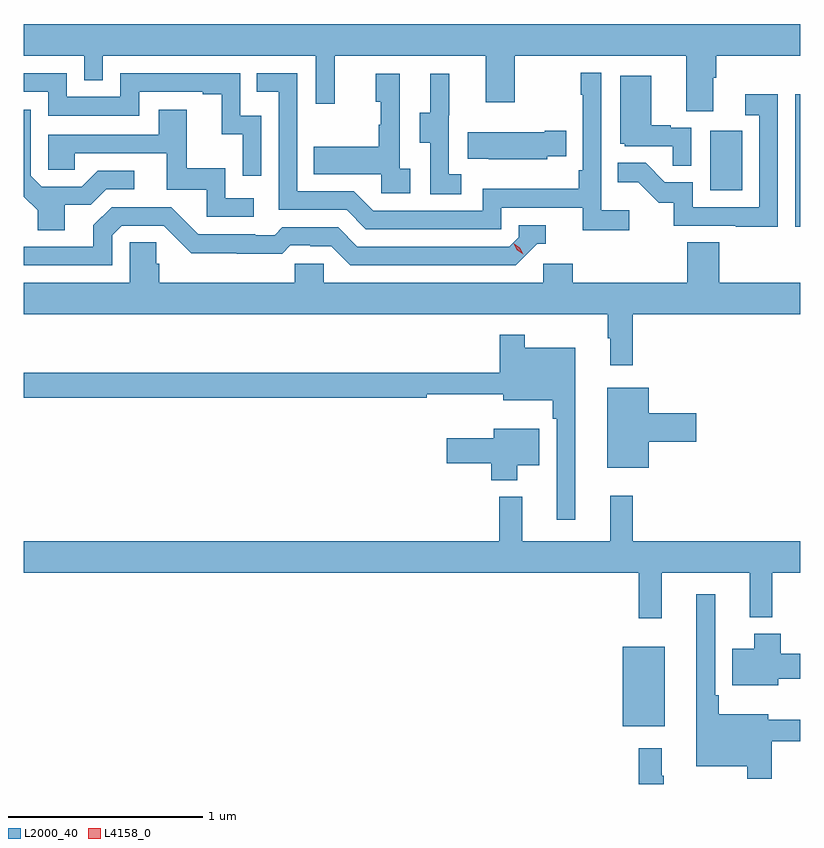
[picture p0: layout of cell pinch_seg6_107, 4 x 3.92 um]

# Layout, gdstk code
import gdstk
lib = gdstk.Library(unit=1e-6, precision=1e-09)
def R(c, l, rs):  # rectangles x0, y0, x1, y1
    for r in rs: c.add(gdstk.rectangle(r[:2], r[2:], *l))
def P(c, l, *ps):  # polygons
    for p in ps: c.add(gdstk.Polygon(p, *l))
L2000_40 = (2000, 40)
L4158_0 = (4158, 0)

pinch_seg6_107 = lib.new_cell('pinch_seg6_107')
R(pinch_seg6_107, L2000_40, [(893.738,919.907,893.953,920.317), (894.627,922.48,894.652,923.161), (894.188,922.668,894.352,922.975)])
P(pinch_seg6_107, L2000_40, [(894.205,923.248),(894.218,923.248),(894.218,923.36),(894.652,923.36),(894.652,923.524),(890.652,923.524),(890.652,923.36),(890.964,923.36),(890.964,923.233),(891.06,923.233),(891.06,923.36),(892.155,923.36),(892.155,923.112),(892.253,923.112),(892.253,923.36),(893.033,923.36),(893.033,923.121),(893.181,923.121),(893.181,923.36),(894.065,923.36),(894.065,923.074),(894.205,923.074)],
  [(893.77,922.564),(893.628,922.564),(893.628,923.272),(893.52,923.272),(893.52,923.159),(893.532,923.159),(893.532,922.771),(893.512,922.771),(893.512,922.675),(893.016,922.675),(893.016,922.563),(892.452,922.563),(892.353,922.662),(892.062,922.662),(892.062,923.271),(891.853,923.271),(891.853,923.175),(891.966,923.175),(891.966,922.566),(892.316,922.566),(892.415,922.467),(893.112,922.467),(893.112,922.578),(893.531,922.578),(893.531,922.462),(893.77,922.462)],
  [(891.876,923.052),(891.768,923.052),(891.768,923.271),(891.15,923.271),(891.15,923.148),(890.874,923.148),(890.874,923.271),(890.652,923.271),(890.652,923.175),(890.778,923.175),(890.778,923.052),(891.246,923.052),(891.246,923.175),(891.575,923.175),(891.575,923.163),(891.671,923.163),(891.671,922.955),(891.78,922.955),(891.78,922.743),(891.876,922.743)],
  [(892.642,922.778),(892.59,922.778),(892.59,923.269),(892.466,923.269),(892.466,923.124),(892.492,923.124),(892.492,923.006),(892.482,923.006),(892.482,922.891),(892.147,922.891),(892.147,922.751),(892.494,922.751),(892.494,922.653),(892.642,922.653)],
  [(892.906,922.751),(892.842,922.751),(892.842,923.055),(892.844,923.055),(892.844,923.269),(892.745,923.269),(892.745,923.067),(892.691,923.067),(892.691,922.912),(892.746,922.912),(892.746,922.648),(892.906,922.648)],
  [(894.09,922.989),(893.984,922.989),(893.984,923.002),(893.884,923.002),(893.884,923.257),(893.726,923.257),(893.726,922.908),(893.748,922.908),(893.748,922.893),(893.995,922.893),(893.995,922.795),(894.09,922.795)],
  [(894.537,923.161),(894.369,923.161),(894.369,923.055),(894.441,923.055),(894.441,922.581),(894.099,922.581),(894.099,922.71),(893.955,922.71),(893.857,922.808),(893.713,922.808),(893.713,922.709),(893.817,922.709),(893.924,922.602),(894.001,922.602),(894.001,922.485),(894.319,922.485),(894.319,922.48),(894.537,922.48)],
  [(891.838,922.626),(891.69,922.626),(891.69,922.78),(891.491,922.78),(891.491,923.083),(891.347,923.083),(891.347,922.953),(890.778,922.953),(890.778,922.773),(890.915,922.773),(890.915,922.857),(891.389,922.857),(891.389,922.671),(891.594,922.671),(891.594,922.53),(891.838,922.53)],
  [(890.863,922.594),(890.998,922.594),(891.078,922.674),(891.22,922.674),(891.22,922.767),(891.032,922.767),(890.951,922.686),(890.745,922.686),(890.688,922.743),(890.688,923.083),(890.652,923.083),(890.652,922.635),(890.723,922.564),(890.723,922.462),(890.863,922.462)],
  [(893.349,922.844),(893.447,922.844),(893.447,922.974),(893.336,922.974),(893.336,922.966),(892.939,922.966),(892.939,922.829),(893.047,922.829),(893.047,922.826),(893.349,922.826)],
  [(891.108,922.437),(891.156,922.485),(891.372,922.485),(891.514,922.343),(891.75,922.343),(891.75,922.341),(891.983,922.341),(892.025,922.383),(892.128,922.383),(892.128,922.38),(892.235,922.38),(892.334,922.281),(893.187,922.281),(893.298,922.392),(893.341,922.392),(893.341,922.488),(893.202,922.488),(893.202,922.425),(893.154,922.377),(892.371,922.377),(892.272,922.476),(891.983,922.476),(891.944,922.437),(891.845,922.437),(891.845,922.44),(891.552,922.44),(891.411,922.581),(891.105,922.581),(891.011,922.487),(891.011,922.377),(890.652,922.377),(890.652,922.281),(891.108,922.281)],
  [(893.789,922.028),(894.652,922.028),(894.652,922.192),(894.236,922.192),(894.236,922.4),(894.071,922.4),(894.071,922.192),(893.48,922.192),(893.48,922.29),(893.328,922.29),(893.328,922.192),(892.197,922.192),(892.197,922.29),(892.047,922.29),(892.047,922.192),(891.35,922.192),(891.35,922.29),(891.335,922.29),(891.335,922.4),(891.198,922.4),(891.198,922.192),(890.652,922.192),(890.652,922.028),(893.661,922.028),(893.661,921.905),(893.672,921.905),(893.672,921.765),(893.789,921.765)],
  [(893.494,921.856),(893.233,921.856),(893.233,921.922),(893.104,921.922),(893.104,921.727),(890.652,921.727),(890.652,921.598),(892.727,921.598),(892.727,921.616),(893.123,921.616),(893.123,921.587),(893.377,921.587),(893.377,921.491),(893.397,921.491),(893.397,920.97),(893.494,920.97)],
  [(893.872,921.371),(894.115,921.371),(894.115,921.518),(893.872,921.518),(893.872,921.649),(893.657,921.649),(893.657,921.239),(893.872,921.239)],
  [(893.194,921.251),(893.308,921.251),(893.308,921.439),(893.072,921.439),(893.072,921.391),(892.83,921.391),(892.83,921.262),(893.06,921.262),(893.06,921.173),(893.194,921.173)],
  [(893.939,920.696),(894.392,920.696),(894.392,920.468),(894.509,920.468),(894.509,920.696),(894.652,920.696),(894.652,920.86),(893.789,920.86),(893.789,921.094),(893.672,921.094),(893.672,920.86),(893.219,920.86),(893.219,921.088),(893.101,921.088),(893.101,920.86),(890.652,920.86),(890.652,920.696),(893.821,920.696),(893.821,920.463),(893.939,920.463)],
  [(894.506,919.83),(894.652,919.83),(894.652,919.94),(894.487,919.94),(894.487,919.969),(894.233,919.969),(894.233,920.065),(894.213,920.065),(894.213,920.587),(894.116,920.587),(894.116,919.7),(894.378,919.7),(894.378,919.635),(894.506,919.635)],
  [(894.538,920.15),(894.652,920.15),(894.652,920.28),(894.551,920.28),(894.551,920.383),(894.416,920.383),(894.416,920.305),(894.302,920.305),(894.302,920.117),(894.538,920.117)],
  [(893.95,919.652),(893.938,919.652),(893.938,919.792),(893.821,919.792),(893.821,919.609),(893.95,919.609)])
P(pinch_seg6_107, L4158_0, [(893.224,922.337),(893.193,922.358),(893.177,922.391),(893.177,922.391),(893.178,922.391),(893.208,922.371),(893.224,922.338),(893.224,922.337)])

lib.write_gds('pinch_seg6_107.gds')
